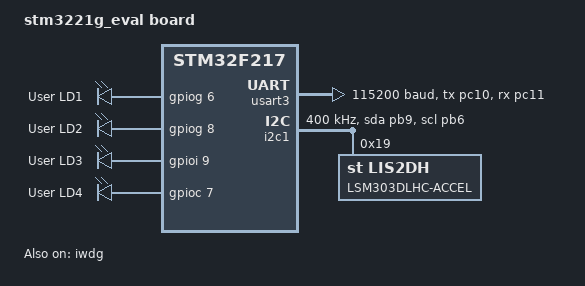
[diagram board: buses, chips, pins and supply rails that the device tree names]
/*
 * Copyright (c) 2020 WuhanStudio
 *
 * SPDX-License-Identifier: Apache-2.0
 */

/dts-v1/;
#include <st/f2/stm32f217Xg.dtsi>
#include <st/f2/stm32f217i(e-g)hx-pinctrl.dtsi>

/ {
	model = "stm3221g_eval board";
	compatible = "st,stm32f217";

	chosen {
		zephyr,console = &usart3;
		zephyr,sram = &sram0;
		zephyr,flash = &flash0;
	};

	leds {
		compatible = "gpio-leds";
		green_led_1: led_1 {
			gpios = <&gpiog 6 GPIO_ACTIVE_HIGH>;
			label = "User LD1";
		};
		orange_led_2: led_2 {
			gpios = <&gpiog 8 GPIO_ACTIVE_HIGH>;
			label = "User LD2";
		};
		red_led_3: led_3 {
			gpios = <&gpioi 9 GPIO_ACTIVE_HIGH>;
			label = "User LD3";
		};
		blue_led_4: led_4 {
			gpios = <&gpioc 7 GPIO_ACTIVE_HIGH>;
			label = "User LD4";
		};
	};

	aliases {
		led0 = &green_led_1;
		led1 = &orange_led_2;
		led2 = &red_led_3;
		led3 = &blue_led_4;
	};
};

&usart3 {
	pinctrl-0 = <&usart3_tx_pc10 &usart3_rx_pc11>;
	pinctrl-names = "default";
	status = "okay";
	current-speed = <115200>;
};

&i2c1 {
	pinctrl-0 = <&i2c1_sda_pb9 &i2c1_scl_pb6>;
	status = "okay";
	pinctrl-names = "default";
	clock-frequency = <I2C_BITRATE_FAST>;
	lsm303dlhc-accel@19 {
		compatible = "st,lis2dh", "st,lsm303dlhc-accel";
		label = "LSM303DLHC-ACCEL";
		reg = <0x19>;
	};
};

&iwdg {
	status = "okay";
};

&rcc {
	clocks = <&pll>;
	clock-frequency = <DT_FREQ_M(120)>;
	ahb-prescaler = <1>;
	apb1-prescaler = <4>;
	apb2-prescaler = <2>;
};
